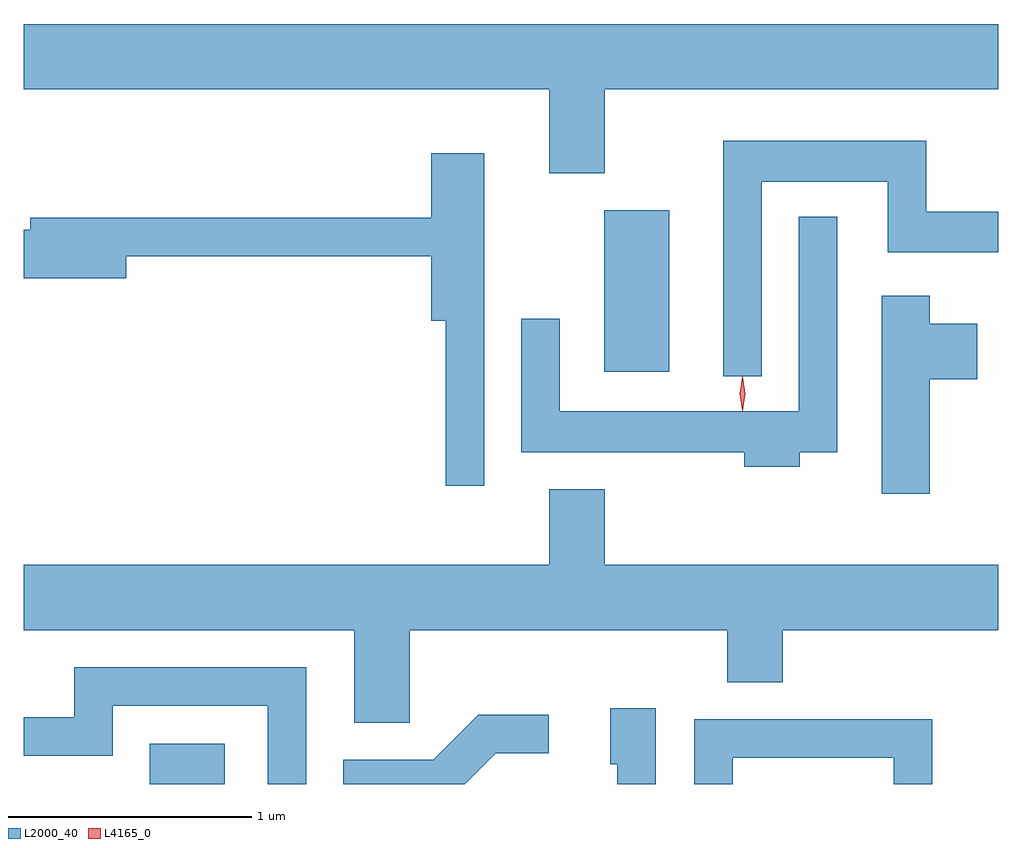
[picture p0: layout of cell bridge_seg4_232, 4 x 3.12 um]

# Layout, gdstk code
import gdstk
lib = gdstk.Library(unit=1e-6, precision=1e-09)
def R(c, l, rs):  # rectangles x0, y0, x1, y1
    for r in rs: c.add(gdstk.rectangle(r[:2], r[2:], *l))
def P(c, l, *ps):  # polygons
    for p in ps: c.add(gdstk.Polygon(p, *l))
L2000_40 = (2000, 40)
L4165_0 = (4165, 0)

bridge_seg4_232 = lib.new_cell('bridge_seg4_232')
R(bridge_seg4_232, L2000_40, [(605.231,1334.064,605.539,1334.229), (607.096,1335.756,607.364,1336.419)])
P(bridge_seg4_232, L2000_40, [(607.099,1336.916),(608.714,1336.916),(608.714,1337.184),(604.714,1337.184),(604.714,1336.916),(606.871,1336.916),(606.871,1336.571),(607.099,1336.571)],
  [(607.744,1336.536),(608.261,1336.536),(608.261,1336.246),(608.714,1336.246),(608.714,1336.414),(608.419,1336.414),(608.419,1336.704),(607.586,1336.704),(607.586,1335.738),(607.744,1335.738)],
  [(606.604,1336.654),(606.386,1336.654),(606.386,1336.389),(604.741,1336.389),(604.741,1336.339),(604.714,1336.339),(604.714,1336.141),(605.134,1336.141),(605.134,1336.231),(606.386,1336.231),(606.386,1335.966),(606.446,1335.966),(606.446,1335.288),(606.604,1335.288)],
  [(607.899,1335.426),(608.054,1335.426),(608.054,1336.393),(607.896,1336.393),(607.896,1335.594),(606.914,1335.594),(606.914,1335.973),(606.756,1335.973),(606.756,1335.426),(607.671,1335.426),(607.671,1335.366),(607.899,1335.366)],
  [(608.434,1335.726),(608.629,1335.726),(608.629,1335.954),(608.434,1335.954),(608.434,1336.069),(608.236,1336.069),(608.236,1335.256),(608.434,1335.256)],
  [(606.299,1334.696),(607.601,1334.696),(607.601,1334.481),(607.829,1334.481),(607.829,1334.696),(608.714,1334.696),(608.714,1334.964),(607.099,1334.964),(607.099,1335.274),(606.871,1335.274),(606.871,1334.964),(604.714,1334.964),(604.714,1334.696),(606.071,1334.696),(606.071,1334.316),(606.299,1334.316)],
  [(605.874,1334.544),(604.921,1334.544),(604.921,1334.339),(604.714,1334.339),(604.714,1334.181),(605.079,1334.181),(605.079,1334.386),(605.716,1334.386),(605.716,1334.064),(605.874,1334.064)],
  [(607.309,1334.374),(607.121,1334.374),(607.121,1334.146),(607.151,1334.146),(607.151,1334.064),(607.309,1334.064)],
  [(606.652,1334.191),(606.868,1334.191),(606.868,1334.349),(606.579,1334.349),(606.394,1334.164),(606.026,1334.164),(606.026,1334.064),(606.525,1334.064)],
  [(607.624,1334.171),(608.286,1334.171),(608.286,1334.064),(608.444,1334.064),(608.444,1334.329),(607.466,1334.329),(607.466,1334.064),(607.624,1334.064)])
P(bridge_seg4_232, L4165_0, [(607.664,1335.597),(607.655,1335.666),(607.664,1335.736),(607.665,1335.736),(607.666,1335.736),(607.675,1335.666),(607.666,1335.597),(607.665,1335.597)],
  [(607.664,1335.599),(607.664,1335.6),(607.654,1335.666),(607.664,1335.732),(607.664,1335.733),(607.665,1335.732),(607.674,1335.666),(607.665,1335.6)])

lib.write_gds('bridge_seg4_232.gds')
